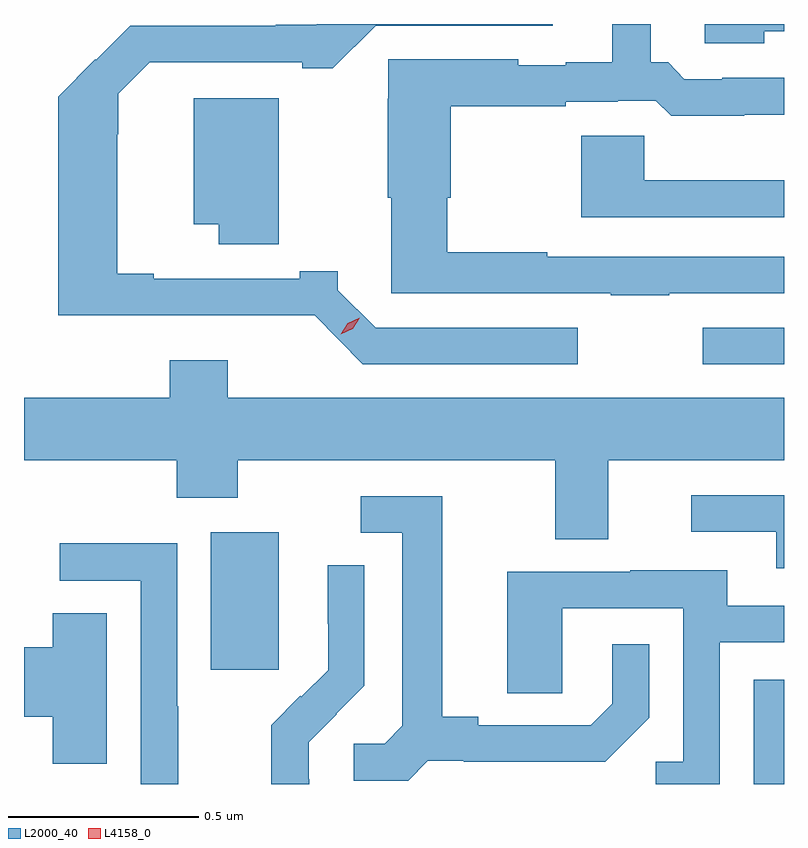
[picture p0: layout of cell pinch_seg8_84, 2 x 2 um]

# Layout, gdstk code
import gdstk
lib = gdstk.Library(unit=1e-6, precision=1e-09)
def R(c, l, rs):  # rectangles x0, y0, x1, y1
    for r in rs: c.add(gdstk.rectangle(r[:2], r[2:], *l))
def P(c, l, *ps):  # polygons
    for p in ps: c.add(gdstk.Polygon(p, *l))
L2000_40 = (2000, 40)
L4158_0 = (4158, 0)

pinch_seg8_84 = lib.new_cell('pinch_seg8_84')
R(pinch_seg8_84, L2000_40, [(1060.524,1106.324,1060.603,1106.598), (1059.095,1106.625,1059.274,1106.986), (1060.389,1107.429,1060.603,1107.525)])
P(pinch_seg8_84, L2000_40, [(1060.06,1107.525),(1059.528,1107.525),(1059.429,1107.624),(1059.429,1107.674),(1059.329,1107.674),(1059.329,1107.654),(1058.944,1107.654),(1058.944,1107.667),(1058.848,1107.667),(1058.848,1108.034),(1058.851,1108.034),(1058.851,1108.141),(1058.934,1108.224),(1059.335,1108.224),(1059.335,1108.208),(1059.416,1108.208),(1059.528,1108.32),(1059.994,1108.32),(1059.994,1108.324),(1059.373,1108.324),(1059.371,1108.322),(1059.266,1108.322),(1059.266,1108.32),(1058.883,1108.32),(1058.793,1108.23),(1058.791,1108.231),(1058.693,1108.133),(1058.693,1107.558),(1059.263,1107.558),(1059.263,1107.557),(1059.368,1107.557),(1059.495,1107.429),(1060.06,1107.429)],
  [(1060.301,1107.615),(1060.603,1107.615),(1060.603,1107.711),(1059.98,1107.711),(1059.98,1107.724),(1059.717,1107.724),(1059.717,1107.867),(1059.726,1107.867),(1059.726,1108.107),(1060.029,1108.107),(1060.029,1108.119),(1060.166,1108.119),(1060.166,1108.122),(1060.266,1108.122),(1060.306,1108.083),(1060.499,1108.083),(1060.499,1108.085),(1060.603,1108.085),(1060.603,1108.182),(1060.441,1108.182),(1060.441,1108.179),(1060.341,1108.179),(1060.298,1108.223),(1060.252,1108.223),(1060.252,1108.324),(1060.151,1108.324),(1060.151,1108.223),(1060.029,1108.223),(1060.029,1108.215),(1059.903,1108.215),(1059.903,1108.231),(1059.562,1108.231),(1059.562,1108.127),(1059.56,1108.127),(1059.56,1107.867),(1059.569,1107.867),(1059.569,1107.615),(1060.147,1107.615),(1060.147,1107.61),(1060.301,1107.61)],
  [(1060.551,1108.305),(1060.603,1108.305),(1060.603,1108.324),(1060.395,1108.324),(1060.395,1108.274),(1060.551,1108.274)],
  [(1059.274,1108.129),(1059.05,1108.129),(1059.05,1107.797),(1059.116,1107.797),(1059.116,1107.744),(1059.274,1107.744)],
  [(1060.603,1107.913),(1060.235,1107.913),(1060.235,1108.03),(1060.069,1108.03),(1060.069,1107.816),(1060.603,1107.816)],
  [(1058.987,1107.439),(1058.987,1107.34),(1058.603,1107.34),(1058.603,1107.176),(1059.005,1107.176),(1059.005,1107.077),(1059.165,1107.077),(1059.165,1107.176),(1060.001,1107.176),(1060.001,1106.968),(1060.141,1106.968),(1060.141,1107.176),(1060.603,1107.176),(1060.603,1107.34),(1059.139,1107.34),(1059.139,1107.439)],
  [(1060.603,1107.084),(1060.359,1107.084),(1060.359,1106.988),(1060.583,1106.988),(1060.583,1106.892),(1060.603,1106.892)],
  [(1059.666,1106.385),(1059.76,1106.385),(1059.76,1106.382),(1060.132,1106.382),(1060.248,1106.498),(1060.248,1106.692),(1060.151,1106.692),(1060.151,1106.535),(1060.094,1106.478),(1059.799,1106.478),(1059.799,1106.501),(1059.703,1106.501),(1059.703,1107.081),(1059.489,1107.081),(1059.489,1106.985),(1059.599,1106.985),(1059.599,1106.477),(1059.552,1106.43),(1059.471,1106.43),(1059.471,1106.333),(1059.614,1106.333)],
  [(1059.009,1106.528),(1059.006,1106.528),(1059.006,1106.958),(1058.697,1106.958),(1058.697,1106.859),(1058.91,1106.859),(1058.91,1106.324),(1059.009,1106.324)],
  [(1059.354,1106.337),(1059.352,1106.337),(1059.352,1106.434),(1059.426,1106.508),(1059.425,1106.509),(1059.498,1106.582),(1059.498,1106.9),(1059.402,1106.9),(1059.402,1106.746),(1059.404,1106.746),(1059.404,1106.624),(1059.333,1106.553),(1059.33,1106.556),(1059.253,1106.479),(1059.253,1106.324),(1059.354,1106.324)],
  [(1060.434,1106.697),(1060.603,1106.697),(1060.603,1106.793),(1060.453,1106.793),(1060.453,1106.887),(1060.199,1106.887),(1060.199,1106.883),(1059.875,1106.883),(1059.875,1106.563),(1060.02,1106.563),(1060.02,1106.787),(1060.338,1106.787),(1060.338,1106.382),(1060.266,1106.382),(1060.266,1106.324),(1060.434,1106.324)],
  [(1058.821,1106.774),(1058.678,1106.774),(1058.678,1106.684),(1058.603,1106.684),(1058.603,1106.501),(1058.678,1106.501),(1058.678,1106.377),(1058.821,1106.377)])
P(pinch_seg8_84, L4158_0, [(1059.437,1107.507),(1059.437,1107.507),(1059.455,1107.536),(1059.486,1107.551),(1059.486,1107.551),(1059.486,1107.551),(1059.468,1107.522),(1059.437,1107.507)])

lib.write_gds('pinch_seg8_84.gds')
